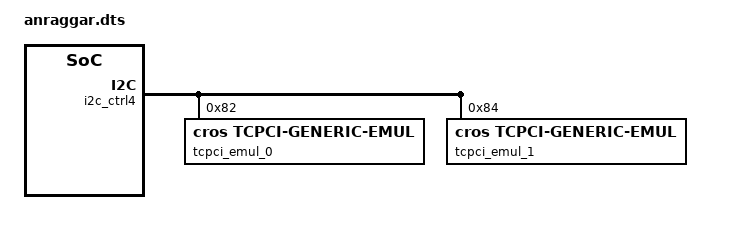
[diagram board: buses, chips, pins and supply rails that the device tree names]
/* Copyright 2023 The ChromiumOS Authors
 * Use of this source code is governed by a BSD-style license that can be
 * found in the LICENSE file.
 */
#include <it8xxx2_emul.dts>

/ {
	aliases {
		gpio-usb-c1-int-odl = &gpio_sb_1;
	};

	named-gpios {
		compatible = "named-gpios";

		gpio_ec_entering_rw: ec_entering_rw {
			gpios = <&gpioc 7 GPIO_OUTPUT>;
			enum-name = "GPIO_ENTERING_RW";
		};
		gpio_en_usb_c0_cc1_vconn: en_usb_c0_cc1_vconn {
			gpios = <&gpioh 4 GPIO_OUTPUT>;
		};
		gpio_en_usb_c0_cc2_vconn: en_usb_c0_cc2_vconn {
			gpios = <&gpioh 6 GPIO_OUTPUT>;
		};
		gpio_usb_c0_int_odl: usb_c0_int_odl {
			gpios = <&gpiok 0 GPIO_INPUT_PULL_UP>;
		};
		gpio_sb_1: sb_1 {
			gpios = <&gpioe 6 0>;
			no-auto-init;
		};
	};

	named-i2c-ports {
		compatible = "named-i2c-ports";

		i2c_ec_i2c_batt: ec_i2c_batt {
			i2c-port = <&i2c_ctrl0>;
			enum-names = "I2C_PORT_BATTERY";
		};
	};

	usbc {
		#address-cells = <1>;
		#size-cells = <0>;
		port0@0 {
			compatible = "named-usbc-port";
			reg = <0>;
			tcpc = <&tcpci_emul_0>;
			usb-mux-chain-0 {
				compatible = "cros-ec,usb-mux-chain";
				usb-muxes = <&virtual_mux_0>;
			};
		};
		port1@1 {
			compatible = "named-usbc-port";
			reg = <1>;
			tcpc = <&tcpci_emul_1>;
			usb-mux-chain-1 {
				compatible = "cros-ec,usb-mux-chain";
				usb-muxes = <&virtual_mux_1>;
			};
		};
		port0-muxes {
			virtual_mux_0: virtual-mux-0 {
				compatible = "cros-ec,usbc-mux-virtual";
			};
		};
		port1-muxes {
			virtual_mux_1: virtual-mux-1 {
				compatible = "cros-ec,usbc-mux-virtual";
			};
		};
	};
};

&i2c_ctrl4 {
	tcpci_emul_0: tcpci_emul@82 {
		compatible = "cros,tcpci-generic-emul";
		status = "okay";
		reg = <0x82>;
	};
};

&i2c_ctrl4 {
	tcpci_emul_1: tcpci_emul@84 {
		compatible = "cros,tcpci-generic-emul";
		status = "okay";
		reg = <0x84>;
	};
};
